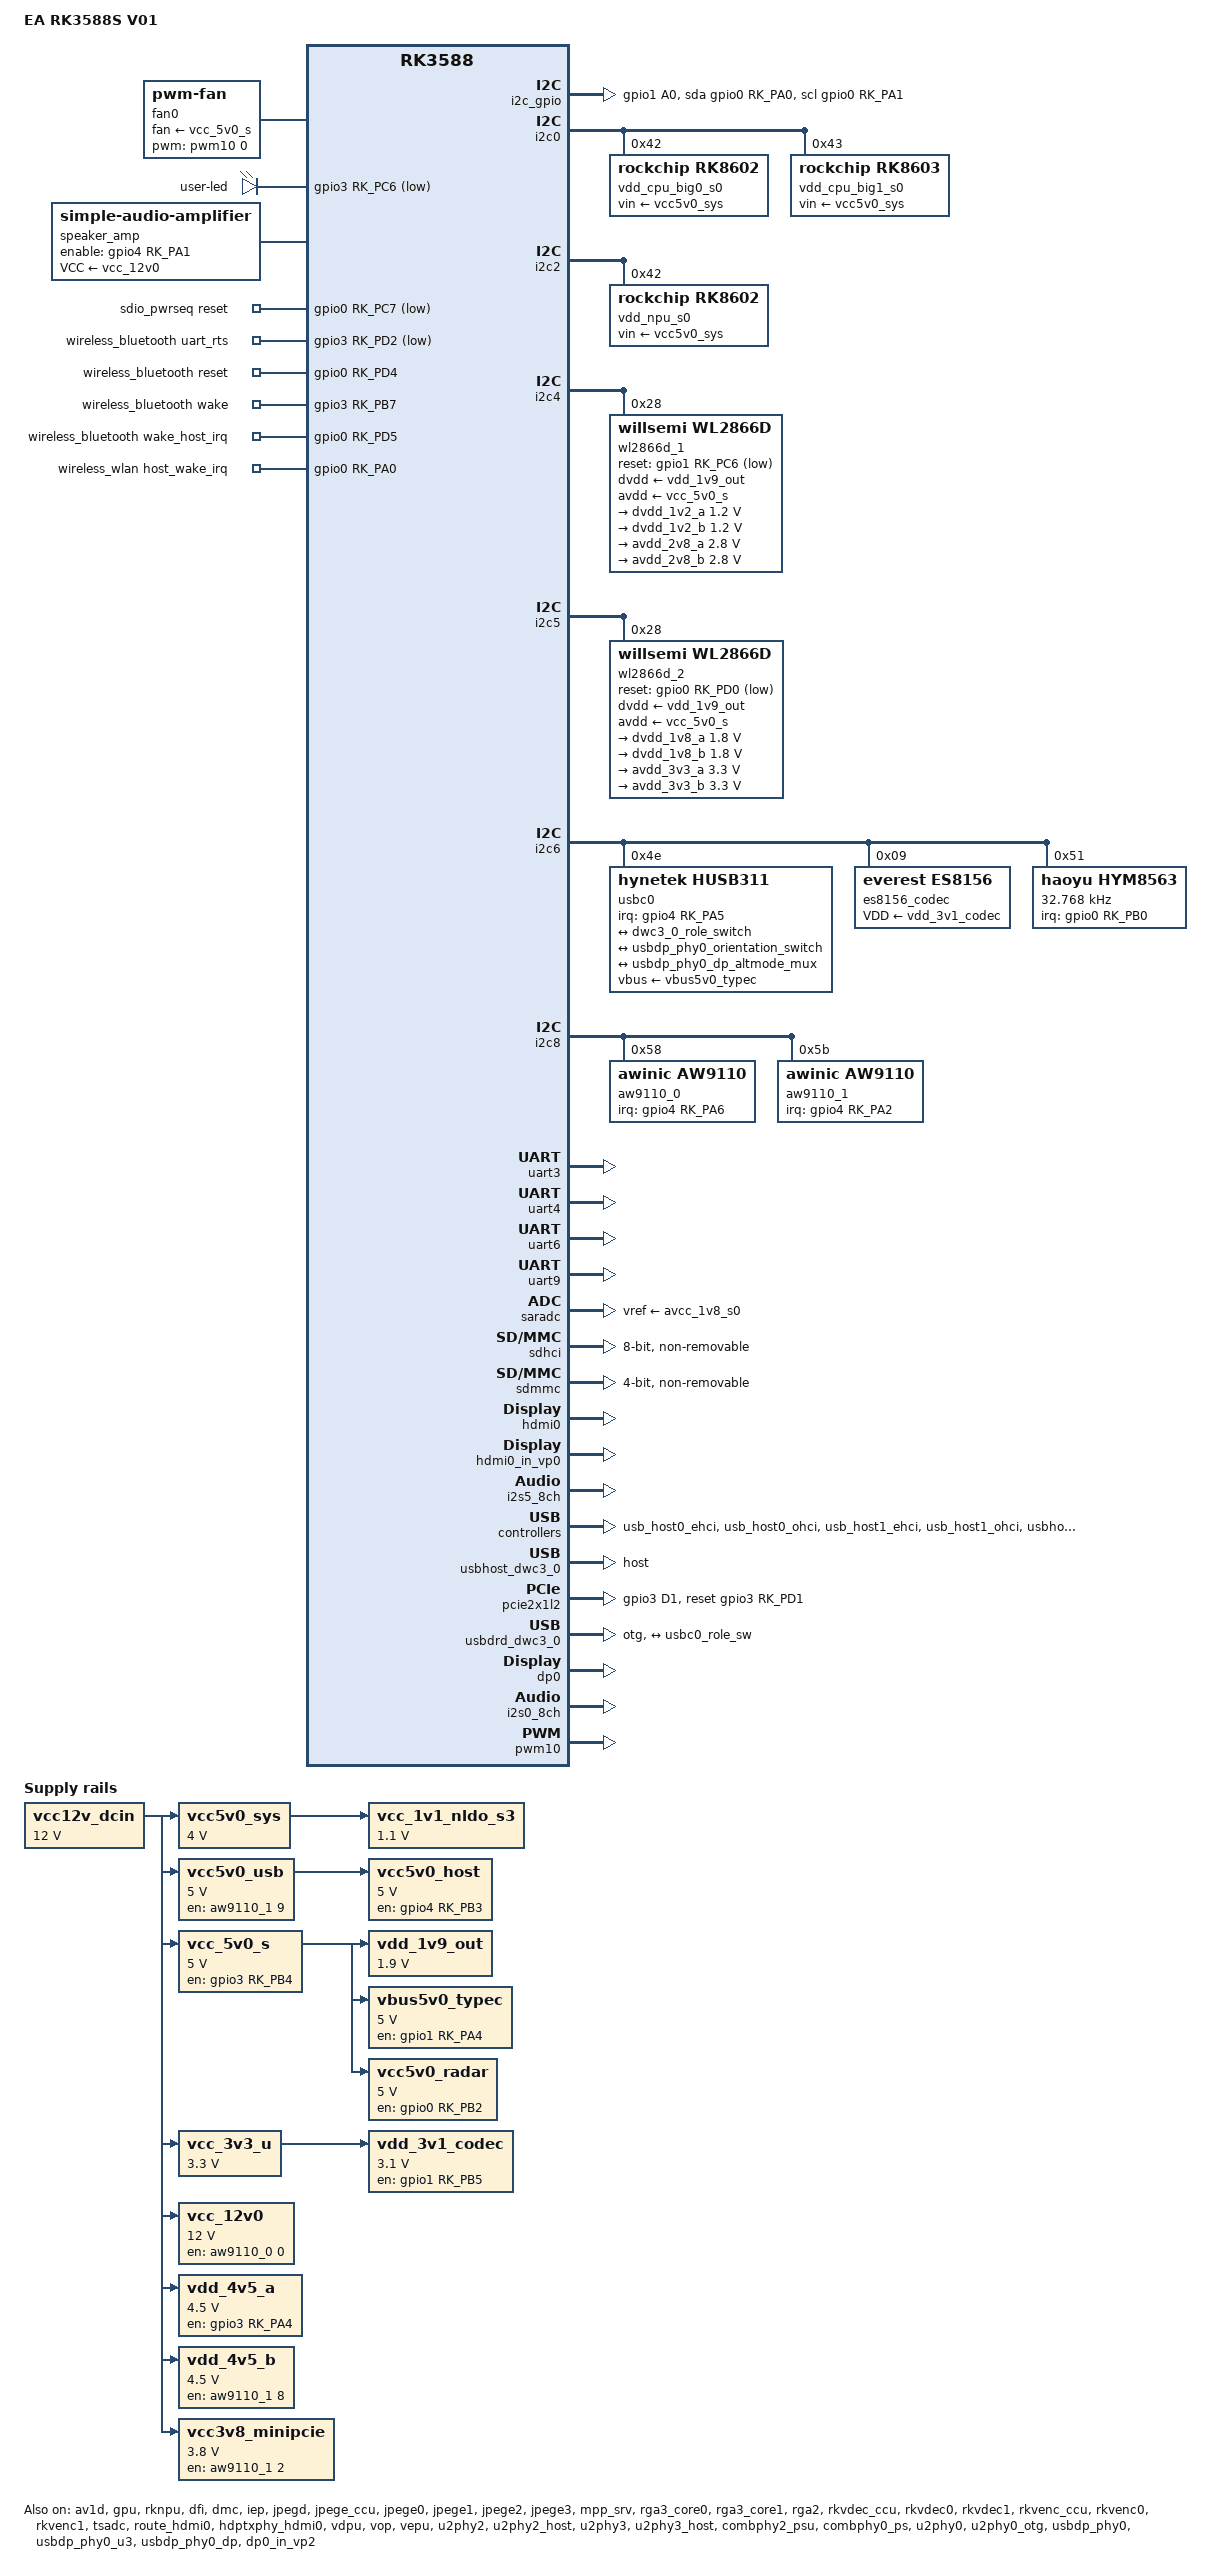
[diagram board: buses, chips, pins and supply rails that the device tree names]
// SPDX-License-Identifier: (GPL-2.0+ OR MIT)
/*
 * Copyright (c) 2022 Rockchip Electronics Co., Ltd.
 * Copyright (c) 2022 Radxa Limited
 *
 */

/dts-v1/;

#include <dt-bindings/gpio/gpio.h>
#include <dt-bindings/leds/common.h>
#include <dt-bindings/pwm/pwm.h>
#include <dt-bindings/pinctrl/rockchip.h>
#include <dt-bindings/input/rk-input.h>
#include <dt-bindings/display/drm_mipi_dsi.h>
#include <dt-bindings/display/rockchip_vop.h>
#include <dt-bindings/sensor-dev.h>
#include <dt-bindings/usb/pd.h>
#include "rk3588s.dtsi"
#include "rk3588-rk806-single.dtsi"
#include "rk3588-linux.dtsi"

/ {
	model = "EA RK3588S V01";
	compatible = "xf,ea_rk3588s_v01", "rockchip,rk3588";

	chosen {
		bootargs = "earlycon=uart8250,mmio32,0xfeb50000 console=ttyFIQ0 coherent_pool=1m irqchip.gicv3_pseudo_nmi=0";
	};

	fan0: pwm-fan {
		compatible = "pwm-fan";
		#cooling-cells = <2>;
		cooling-levels = <0 64 128 192 255>;
		fan-supply = <&vcc_5v0_s>;
		pwms = <&pwm10 0 10000 0>;
	};

	vcc12v_dcin: vcc12v-dcin {
		compatible = "regulator-fixed";
		regulator-name = "vcc12v_dcin";
		regulator-always-on;
		regulator-boot-on;
		regulator-min-microvolt = <0xb71b00>;
		regulator-max-microvolt = <0xb71b00>;
	};

	vcc5v0_sys: vcc5v0-sys {
		compatible = "regulator-fixed";
		regulator-name = "vcc5v0_sys";
		regulator-always-on;
		regulator-boot-on;
		regulator-min-microvolt = <4000000>;
		regulator-max-microvolt = <4000000>;
		vin-supply = <&vcc12v_dcin>;
	};

	vcc5v0_usb: vcc5v0-usb {
		compatible = "regulator-fixed";
		regulator-name = "vcc5v0_usb";
		regulator-always-on;
		regulator-boot-on;
		enable-active-high;
		regulator-min-microvolt = <5000000>;
		regulator-max-microvolt = <5000000>;
		//gpio = <0x198 0x09 0x00>; i2c gpio aw9110-1@5b
		gpio = <&aw9110_1 9 GPIO_ACTIVE_HIGH>;
		vin-supply = <&vcc12v_dcin>;
	};	// ok

	vcc_5v0_s: vcc-5v0-s {
		compatible = "regulator-fixed";
		regulator-name = "vcc_5v0_s";
		regulator-min-microvolt = <5000000>;
		regulator-max-microvolt = <5000000>;
		regulator-boot-on;
		regulator-always-on;
		enable-active-high;
		//gpio = <0xff 0x0c 0x00>;
		gpio = <&gpio3 RK_PB4 GPIO_ACTIVE_HIGH>;
		pinctrl-names = "default";
		pinctrl-0 = <&vcc_5v0_s_pwren>;
		vin-supply = <&vcc12v_dcin>;
	};

	vdd_1v9_out: vdd-1v9-out {
		compatible = "regulator-fixed";
		regulator-name = "vdd_1v9_out";
		regulator-always-on;
		regulator-boot-on;
		regulator-min-microvolt = <0x1cfde0>;
		regulator-max-microvolt = <0x1cfde0>;
		vin-supply = <&vcc_5v0_s>;
	};

	vcc_3v3_u: vcc-3v3-u {
		compatible = "regulator-fixed";
		regulator-name = "vcc_3v3_u";
		regulator-always-on;
		regulator-boot-on;
		regulator-min-microvolt = <0x325aa0>;
		regulator-max-microvolt = <0x325aa0>;
		vin-supply = <&vcc12v_dcin>;
	};

	vcc_12v0: vcc-12v0 {
		compatible = "regulator-fixed";
		regulator-name = "vcc_12v0";
		regulator-min-microvolt = <0xb71b00>;
		regulator-max-microvolt = <0xb71b00>;
		enable-active-high;
		//gpio = <0x78 0x00 0x00>; i2c gpio aw9110-0@58
		gpio = <&aw9110_0 0 GPIO_ACTIVE_HIGH>;
		vin-supply = <&vcc12v_dcin>;
	};

	vdd_4v5_a: vdd-4v5-a {
		compatible = "regulator-fixed";
		regulator-name = "vdd_4v5_a";
		regulator-min-microvolt = <0x44aa20>;
		regulator-max-microvolt = <0x44aa20>;
		enable-active-high;
		//gpio = <0xff 0x04 0x00>;
		gpio = <&gpio3 RK_PA4 GPIO_ACTIVE_HIGH>;
		vin-supply = <&vcc12v_dcin>;
		pinctrl-names = "default";
		pinctrl-0 = <&vcc_4v5_pwen>;
	};

	vdd_4v5_b: vdd-4v5-b {
		compatible = "regulator-fixed";
		regulator-name = "vdd_4v5_b";
		regulator-min-microvolt = <0x44aa20>;
		regulator-max-microvolt = <0x44aa20>;
		enable-active-high;
		//gpio = <0x165 0x08 0x00>; i2c gpio aw9110-1@5b
		gpio = <&aw9110_1 8 GPIO_ACTIVE_HIGH>;
		vin-supply = <&vcc12v_dcin>;
	};

	vbus5v0_typec: vbus5v0-typec {
		compatible = "regulator-fixed";
		enable-active-high;
		//gpio = <0xf3 0x04 0x00>;
		gpios = <&gpio1 RK_PA4 GPIO_ACTIVE_HIGH>;
		pinctrl-names = "default";
		pinctrl-0 = <&typec5v_pwren>;
		regulator-name = "vbus5v0_typec";
		regulator-min-microvolt = <5000000>;
		regulator-max-microvolt = <5000000>;
		vin-supply = <&vcc_5v0_s>;
	};	// ok

	vcc_1v1_nldo_s3: vcc-1v1-nldo-s3 {
		compatible = "regulator-fixed";
		regulator-name = "vcc_1v1_nldo_s3";
		regulator-always-on;
		regulator-boot-on;
		regulator-min-microvolt = <1100000>;
		regulator-max-microvolt = <1100000>;
		vin-supply = <&vcc5v0_sys>;
	};

	vcc5v0_host: vcc5v0-host {
		compatible = "regulator-fixed";
		regulator-name = "vcc5v0_host";
		regulator-min-microvolt = <5000000>;
		regulator-max-microvolt = <5000000>;
		enable-active-high;
		//gpio = <0x146 0x0b 0x00>;
		gpio = <&gpio4 RK_PB3 GPIO_ACTIVE_HIGH>;
		pinctrl-names = "default";
		pinctrl-0 = <&vcc5v0_host_en>;
		vin-supply = <&vcc5v0_usb>;
	};

	vcc3v8_minipcie: vcc3v8-minipcie {
		compatible = "regulator-fixed";
		regulator-name = "vcc3v8_minipcie";
		regulator-always-on;
		regulator-boot-on;
		regulator-min-microvolt = <0x39fbc0>;
		regulator-max-microvolt = <0x39fbc0>;
		enable-active-high;
		//gpio = <0x198 0x02 0x00>;
		gpio = <&aw9110_1 2 GPIO_ACTIVE_HIGH>;
		vin-supply = <&vcc12v_dcin>;
	};

	vdd_3v1_codec: vdd-3v1-codec {
		compatible = "regulator-fixed";
		regulator-name = "vdd_3v1_codec";
		regulator-min-microvolt = <0x2f4d60>;
		regulator-max-microvolt = <0x2f4d60>;
		regulator-always-on;
		regulator-boot-on;
		enable-active-high;
		//gpio = <0xd4 0x0d 0x00>;
		gpios = <&gpio1 RK_PB5 GPIO_ACTIVE_HIGH>;
		vin-supply = <&vcc_3v3_u>;
		pinctrl-names = "default";
		pinctrl-0 = <&vcc_3v1_codec_en>;
	};

	vcc5v0_radar: vcc5v0-radar {
		compatible = "regulator-fixed";
		regulator-name = "vcc5v0_radar";
		regulator-always-on;
		regulator-boot-on;
		regulator-min-microvolt = <0x4c4b40>;
		regulator-max-microvolt = <0x4c4b40>;
		enable-active-high;
		//gpio = <0x141 0x0a 0x00>;
		gpios = <&gpio0 RK_PB2 GPIO_ACTIVE_HIGH>;
		vin-supply = <&vcc_5v0_s>;
		pinctrl-names = "default";
		pinctrl-0 = <0x1a0>;
	};

	gpio-leds {
		compatible = "gpio-leds";
		pinctrl-names = "default";
		user-led {
			function = "status";
			//gpios = <0xff 0x16 0x01>;
			gpios = <&gpio3 RK_PC6 GPIO_ACTIVE_LOW>;
			linux,default-trigger = "heartbeat";
		};
	};

	hdmi0_sound: hdmi0-sound {
		status = "okay";
		compatible = "rockchip,hdmi";
		rockchip,mclk-fs = <128>;
		rockchip,card-name = "rockchip-hdmi0";
		rockchip,cpu = <&i2s5_8ch>;
		rockchip,codec = <&hdmi0>;
		rockchip,jack-det;
	};

	dp0_sound: dp0-sound {
		status = "okay";
		compatible = "rockchip,hdmi";
		rockchip,card-name = "rockchip-dp0";
		rockchip,mclk-fs = <512>;
		rockchip,cpu = <&spdif_tx2>;
		rockchip,codec = <&dp0 1>;
		rockchip,jack-det;
	};

	rk_sound: rk-sound {
		status = "okay";
		compatible = "simple-audio-card";
		simple-audio-card,name = "Internal";
		simple-audio-card,format = "i2s";
		simple-audio-card,mclk-fs = <0x100>;
		simple-audio-card,widgets = "Speaker","Speaker Left","Speaker","Speaker Right";
		simple-audio-card,routing = "Speaker Left","LOUT","Speaker Right","ROUT";

		simple-audio-card,cpu {
			sound-dai = <&i2s0_8ch>;
		};

		simple-audio-card,codec {
		//	sound-dai = <&es8156_codec>;
		};
	};

	speaker_amp: speaker-amp {
		compatible = "simple-audio-amplifier";
		pinctrl-names = "default";
		pinctrl-0 = <&amplifier_pwren>;
		//enable-gpios = <0x146 0x01 0x00>;
		enable-gpios = <&gpio4 RK_PA1 GPIO_ACTIVE_HIGH>;
		VCC-supply = <&vcc_12v0>;
		sound-name-prefix = "Speaker Amp";
	};

	sdio_pwrseq: sdio-pwrseq {
		compatible = "mmc-pwrseq-simple";
		pinctrl-names = "default";
		pinctrl-0 = <&sdmmc_pwren>;
		post-power-on-delay-ms = <0xc8>;
		//reset-gpios = <0x141 0x17 0x01>;
		reset-gpios = <&gpio0 RK_PC7 GPIO_ACTIVE_LOW>;
		status = "okay";
	};

	wireless_bluetooth: wireless-bluetooth {
		compatible = "bluetooth-platdata";
		//uart_rts_gpios = <0xff 0x1a 0x01>;
		uart_rts_gpios = <&gpio3 RK_PD2 GPIO_ACTIVE_LOW>;
		pinctrl-names = "default","rts_gpio";
		pinctrl-0 = <&uart9m2_rtsn &bt_gpio>;
		pinctrl-1 = <&uart9_gpios>;
		//BT,reset_gpio = <0x141 0x1c 0x00>;
		BT,reset_gpio = <&gpio0 RK_PD4 GPIO_ACTIVE_HIGH>;
		//BT,wake_gpio = <0xff 0x0f 0x00>;
		BT,wake_gpio = <&gpio3 RK_PB7 GPIO_ACTIVE_HIGH>;
		//BT,wake_host_irq = <0x141 0x1d 0x00>;
		BT,wake_host_irq  = <&gpio0 RK_PD5 GPIO_ACTIVE_HIGH>;
		status = "okay";
	};

	wireless_wlan: wireless-wlan {
		compatible = "wlan-platdata";
		wifi_chip_type = "rtl8852bs";
		pinctrl-names = "default";
		pinctrl-0 = <&wifi_gpio>;
		//WIFI,host_wake_irq = <0x141 0x00 0x00>;
		WIFI,host_wake_irq = <&gpio0 RK_PA0 GPIO_ACTIVE_HIGH>;
		status = "okay";
	};

	i2c_gpio: i2c-gpio {
		compatible = "i2c-gpio";
		pinctrl-names = "default";
		pinctrl-0 = <&i2c_gpio_pins>;
		//sda-gpios = <0xf3 0x00 0x06>;
		sda-gpios = <&gpio0 RK_PA0 0x06>;
		scl-gpios = <&gpio0 RK_PA1 0x06>;
		i2c-gpio,delay-us = <0x02>;
	};

};

&i2c0 {
	status = "okay";
	pinctrl-names = "default";
	pinctrl-0 = <&i2c0m2_xfer>;

	vdd_cpu_big0_s0: vdd_cpu_big0_mem_s0: rk8602@42 {
		compatible = "rockchip,rk8602";
		reg = <0x42>;
		vin-supply = <&vcc5v0_sys>;
		regulator-compatible = "rk860x-reg";
		regulator-name = "vdd_cpu_big0_s0";
		regulator-min-microvolt = <550000>;
		regulator-max-microvolt = <1050000>;
		regulator-ramp-delay = <2300>;
		rockchip,suspend-voltage-selector = <1>;
		regulator-boot-on;
		regulator-always-on;
		regulator-state-mem {
			regulator-off-in-suspend;
		};
	};

	vdd_cpu_big1_s0: vdd_cpu_big1_mem_s0: rk8603@43 {
		compatible = "rockchip,rk8603";
		reg = <0x43>;
		vin-supply = <&vcc5v0_sys>;
		regulator-compatible = "rk860x-reg";
		regulator-name = "vdd_cpu_big1_s0";
		regulator-min-microvolt = <550000>;
		regulator-max-microvolt = <1050000>;
		regulator-ramp-delay = <2300>;
		rockchip,suspend-voltage-selector = <1>;
		regulator-boot-on;
		regulator-always-on;
		regulator-state-mem {
			regulator-off-in-suspend;
		};
	};
};

&i2c2 {
	status = "okay";
	pinctrl-names = "default";
	pinctrl-0 = <&i2c2m0_xfer>;

	vdd_npu_s0: vdd_npu_mem_s0: rk8602@42 {
		compatible = "rockchip,rk8602";
		reg = <0x42>;
		vin-supply = <&vcc5v0_sys>;
		regulator-compatible = "rk860x-reg";
		regulator-name = "vdd_npu_s0";
		regulator-min-microvolt = <550000>;
		regulator-max-microvolt = <950000>;
		regulator-ramp-delay = <2300>;
		rockchip,suspend-voltage-selector = <1>;
		regulator-boot-on;
		regulator-always-on;
		regulator-state-mem {
			regulator-off-in-suspend;
		};
	};
};

&i2c4 {
	status = "okay";
	pinctrl-names = "default";
	pinctrl-0 = <&i2c4m2_xfer>;
	wl2866d_1: wl2866d-1@28 {
		compatible = "willsemi,wl2866d";
		reg = <0x28>;
		//reset-gpios = <0xf3 0x16 0x01>;
		reset-gpios = <&gpio1 RK_PC6 GPIO_ACTIVE_LOW>;
		dvdd-supply = <&vdd_1v9_out>;
		avdd-supply = <&vcc_5v0_s>;
		status = "okay";

		regulators {

			dvdd_1v2_a: WL_DVDD1 {
				regulator-boot-on;
				regulator-always-on;
				regulator-min-microvolt = <0x124f80>;
				regulator-max-microvolt = <0x124f80>;
				regulator-name = "dvdd_1v2_a";
			};

			dvdd_1v2_b: WL_DVDD2 {
				regulator-boot-on;
				regulator-min-microvolt = <0x124f80>;
				regulator-max-microvolt = <0x124f80>;
				regulator-name = "dvdd_1v2_b";
			};

			avdd_2v8_a: WL_AVDD1 {
				regulator-boot-on;
				regulator-always-on;
				regulator-min-microvolt = <0x2ab980>;
				regulator-max-microvolt = <0x2ab980>;
				regulator-name = "avdd_2v8_a";
			};

			avdd_2v8_b: WL_AVDD2 {
				regulator-boot-on;
				regulator-min-microvolt = <0x2ab980>;
				regulator-max-microvolt = <0x2ab980>;
				regulator-name = "avdd_2v8_b";
			};
		};
	};

};

&i2c5 {
	status = "okay";
	pinctrl-names = "default";
	pinctrl-0 = <&i2c5m3_xfer>;
	wl2866d_2: wl2866d-2@28 {
		compatible = "willsemi,wl2866d";
		reg = <0x28>;
		//reset-gpios = <0x141 0x18 0x01>;
		reset-gpios = <&gpio0 RK_PD0 GPIO_ACTIVE_LOW>;
		dvdd-supply = <&vdd_1v9_out>;
		avdd-supply = <&vcc_5v0_s>;
		status = "okay";

		regulators {

			dvdd_1v8_a: WL_DVDD1 {
				regulator-boot-on;
				regulator-always-on;
				regulator-min-microvolt = <0x1b7740>;
				regulator-max-microvolt = <0x1b7740>;
				regulator-name = "dvdd_1v8_a";
			};

			dvdd_1v8_b: WL_DVDD2 {
				regulator-boot-on;
				regulator-min-microvolt = <0x1b7740>;
				regulator-max-microvolt = <0x1b7740>;
				regulator-name = "dvdd_1v8_b";
			};

			avdd_3v3_a: WL_AVDD1 {
				regulator-boot-on;
				regulator-min-microvolt = <0x325aa0>;
				regulator-max-microvolt = <0x325aa0>;
				regulator-name = "avdd_3v3_a";
			};

			avdd_3v3_b: WL_AVDD2 {
				regulator-boot-on;
				regulator-min-microvolt = <0x325aa0>;
				regulator-max-microvolt = <0x325aa0>;
				regulator-name = "avdd_3v3_b";
			};
		};
	};

};

// #配置外置Type-C控制器芯片husb311
// #需要根据实际的硬件设计，配置"I2C/interrupts/vbus-supply/usb_con"的属性
&i2c6 {
    status = "okay";
	pinctrl-names = "default";
	pinctrl-0 = <&i2c6m3_xfer>;

    usbc0: husb311@4e {
        compatible = "hynetek,husb311";
		reg = <0x4e>;
		//interrupt-parent = <0x146>;
		//interrupts = <0x05 0x08>;
		interrupt-parent = <&gpio4>;
        interrupts = <RK_PA5 IRQ_TYPE_LEVEL_LOW>;
        pinctrl-names = "default";
        pinctrl-0 = <&usbc0_int>;
        vbus-supply = <&vbus5v0_typec>;
        status = "okay";

        ports {
            #address-cells = <1>;
            #size-cells = <0>;

            port@0 {
                reg = <0>;
                usbc0_role_sw: endpoint@0 {
                	remote-endpoint = <&dwc3_0_role_switch>;
                };
            };
        };

        usb_con: connector {
			compatible = "usb-c-connector";
			label = "USB-C";
			data-role = "dual";
			power-role = "dual";
			try-power-role = "sink";
			op-sink-microwatt = <10000000>;
			sink-pdos = <PDO_FIXED(5000, 1000, PDO_FIXED_USB_COMM)>;
            source-pdos = <PDO_FIXED(5000, 3000, PDO_FIXED_USB_COMM)>;

			altmodes {
				#address-cells = <1>;
				#size-cells = <0>;

				altmode@0 {
					reg = <0>;
					svid = <0xff01>;
					vdo = <0xffffffff>;
				};
			};

			ports {
				#address-cells = <1>;
				#size-cells = <0>;

				port@0 {
					reg = <0>;
					usbc0_orien_sw: endpoint {
						remote-endpoint = <&usbdp_phy0_orientation_switch>;
					};
				};

				port@1 {
					reg = <1>;
					dp_altmode_mux: endpoint {
						remote-endpoint = <&usbdp_phy0_dp_altmode_mux>;
					};
				};
			};
		};
    };

	es8156_codec: es8156-codec@9 {
		reg = <0x09>;
		compatible = "everest,es8156";
		VDD-supply = <&vdd_3v1_codec>;
		#sound-dai-cells = <0x00>;
		clocks = <0x02 0x39>;
		clock-names = "mclk";
		pinctrl-names = "default";
		pinctrl-0 = <&i2s0_mclk>;
	};

	hym8563: hym8563@51 {
		compatible = "haoyu,hym8563";
		status = "okay";
		reg = <0x51>;
		#clock-cells = <0>;
		clock-frequency = <0x8000>;
		clock-output-names = "hym8563";
		pinctrl-names = "default";
		pinctrl-0 = <&hym8563_int>;
		//interrupt-parent = <0x141>;
		//interrupts = <0x08 0x08>;
		interrupt-parent = <&gpio0>;
        interrupts = <RK_PB0 IRQ_TYPE_LEVEL_LOW>;
		wakeup-source;
	};
};

&i2c8 {
	status = "okay";
	pinctrl-names = "default";
	pinctrl-0 = <&i2c8m2_xfer>;
	// i2c GPIO Contrl
	aw9110_0: aw9110-0@58 {
		reg = <0x58>;
		compatible = "awinic,aw9110";
		gpio-controller;
		#gpio-cells = <0x02>;
		pinctrl-names = "default";
		pinctrl-0 = <&aw9110_0_int>;
		//interrupt-parent = <0x146>;
		//interrupts = <0x06 0x08>;
		interrupt-parent = <&gpio4>;
        interrupts = <RK_PA6 IRQ_TYPE_LEVEL_LOW>;
		interrupt-controller;
		#interrupt-cells = <0x02>;
	};
	aw9110_1: aw9110-1@5b {
		reg = <0x5b>;
		compatible = "awinic,aw9110";
		gpio-controller;
		#gpio-cells = <0x02>;
		pinctrl-names = "default";
		pinctrl-0 = <&aw9110_1_int>;
		//interrupt-parent = <0x146>;
		//interrupts = <0x02 0x08>;
		interrupt-parent = <&gpio4>;
        interrupts = <RK_PA2 IRQ_TYPE_LEVEL_LOW>;
		interrupt-controller;
		#interrupt-cells = <0x02>;
	};
};

&uart3{
	status = "okay";
	pinctrl-names = "default";
	pinctrl-0 = <&uart3m0_xfer>;		
};

&uart4{
	status = "okay";
	pinctrl-names = "default";
	pinctrl-0 = <&uart4m0_xfer>;		
};

&uart6{
	status = "okay";
	pinctrl-names = "default";
	pinctrl-0 = <&uart6m2_xfer>;		
};
// Bluetooth uart
&uart9{
	status = "okay";
	pinctrl-names = "default";
	pinctrl-0 = <&uart9m2_xfer &uart9m2_ctsn>;		
};

&av1d {
	status = "okay";
};

&av1d_mmu {
	status = "okay";
};

/* CPU */

&cpu_l0 {
	cpu-supply = <&vdd_cpu_lit_s0>;
	mem-supply = <&vdd_cpu_lit_mem_s0>;
};

&cpu_b0 {
	cpu-supply = <&vdd_cpu_big0_s0>;
	mem-supply = <&vdd_cpu_big0_mem_s0>;
};

&cpu_b2 {
	cpu-supply = <&vdd_cpu_big1_s0>;
	mem-supply = <&vdd_cpu_big1_mem_s0>;
};

/* GPU */

&gpu {
	mali-supply = <&vdd_gpu_s0>;
	mem-supply = <&vdd_gpu_mem_s0>;
	status = "okay";
};

/* NPU */

&rknpu {
	rknpu-supply = <&vdd_npu_s0>;
	mem-supply = <&vdd_npu_mem_s0>;
	status = "okay";
};

&dfi {
	status = "okay";
};

&dmc {
	status = "okay";
	center-supply = <&vdd_ddr_s0>;
	mem-supply = <&vdd_log_s0>;
};

&rknpu_mmu {
	status = "okay";
};

&iep {
	status = "okay";
};

&iep_mmu {
	status = "okay";
};

&jpegd {
	status = "okay";
};

&jpegd_mmu {
	status = "okay";
};

&jpege_ccu {
	status = "okay";
};

&jpege0 {
	status = "okay";
};

&jpege0_mmu {
	status = "okay";
};

&jpege1 {
	status = "okay";
};

&jpege1_mmu {
	status = "okay";
};

&jpege2 {
	status = "okay";
};

&jpege2_mmu {
	status = "okay";
};

&jpege3 {
	status = "okay";
};

&jpege3_mmu {
	status = "okay";
};

&mpp_srv {
	status = "okay";
};

&rga3_core0 {
	status = "okay";
};

&rga3_0_mmu {
	status = "okay";
};

&rga3_core1 {
	status = "okay";
};

&rga3_1_mmu {
	status = "okay";
};

&rga2 {
	status = "okay";
};

&rkvdec_ccu {
	status = "okay";
};

&rkvdec0 {
	status = "okay";
};

&rkvdec0_mmu {
	status = "okay";
};

&rkvdec1 {
	status = "okay";
};

&rkvdec1_mmu {
	status = "okay";
};

&rkvenc_ccu {
	status = "okay";
};

&rkvenc0 {
	status = "okay";
};

&rkvenc0_mmu {
	status = "okay";
};

&rkvenc1 {
	status = "okay";
};

&rkvenc1_mmu {
	status = "okay";
};

&saradc {
	status = "okay";
	vref-supply = <&avcc_1v8_s0>;
};

/* Storage */
/* eMMC */

&sdhci {
	max-frequency = <200000000>;
	bus-width = <8>;
	no-sdio;
	no-sd;
	non-removable;
	mmc-hs400-1_8v;
	card-detect-delay = <0x4b0>;
	status = "okay";
};

/* SDIO */
&sdmmc {
	max-frequency = <200000000>;
	no-sd;
	no-mmc;
	bus-width = <0x04>;
	disable-wp;
	cap-sd-highspeed;
	cap-sdio-irq;
	keep-power-in-suspend;
	mmc-pwrseq = <&sdio_pwrseq>;
	non-removable;
	sd-uhs-sdr104;
	pinctrl-names = "default";
	pinctrl-0 = <&sdmmc_bus4 &sdmmc_clk &sdmmc_cmd>;
	status = "okay";
};

/* ADC */

&tsadc {
	status = "okay";
};

/* HDMI */

&hdmi0 {
	status = "okay";
	pinctrl-names = "default";
	//enable-gpios = <0xf3 0x07 0x00>;
	enable-gpios = <&gpio1 RK_PA7 GPIO_ACTIVE_HIGH>;
	pinctrl-0 = <&hdmim0_tx0_cec &hdmim0_tx0_hpd &hdmim0_tx0_scl &hdmim0_tx0_sda>;
};

&hdmi0_in_vp0 {
	status = "okay";
};

&route_hdmi0 {
	status = "okay";
};

&hdptxphy_hdmi0 {
	status = "okay";
};

&i2s5_8ch {
	status = "okay";
};

&vdpu {
	status = "okay";
};

&vdpu_mmu {
	status = "okay";
};

/* Video Ports */

&vop {
	status = "okay";
};

&vop_mmu {
	status = "okay";
};

&vepu {
	status = "okay";
};

/* vp0 & vp1 splice for 8K output */
&vp0 {
    cursor-win-id=<ROCKCHIP_VOP2_ESMART0>;
    rockchip,plane-mask = <(1 << ROCKCHIP_VOP2_CLUSTER0 | 1 << ROCKCHIP_VOP2_ESMART0)>;
    rockchip,primary-plane = <ROCKCHIP_VOP2_CLUSTER0>;
};

&vp1 {
    cursor-win-id=<ROCKCHIP_VOP2_ESMART1>;
    rockchip,plane-mask = <(1 << ROCKCHIP_VOP2_CLUSTER1 | 1 << ROCKCHIP_VOP2_ESMART1)>;
    rockchip,primary-plane = <ROCKCHIP_VOP2_CLUSTER1>;
};

&vp2 {
    cursor-win-id=<ROCKCHIP_VOP2_ESMART2>;
    rockchip,plane-mask = <(1 << ROCKCHIP_VOP2_CLUSTER2 | 1 << ROCKCHIP_VOP2_ESMART2)>;
    rockchip,primary-plane = <ROCKCHIP_VOP2_CLUSTER2>;
};

&vp3 {
    cursor-win-id=<ROCKCHIP_VOP2_ESMART3>;
    rockchip,plane-mask = <(1 << ROCKCHIP_VOP2_CLUSTER3 | 1 << ROCKCHIP_VOP2_ESMART3)>;
    rockchip,primary-plane = <ROCKCHIP_VOP2_CLUSTER3>;
};

&display_subsystem {
	clocks = <&hdptxphy_hdmi0>;
	clock-names = "hdmi0_phy_pll";
};

/* USB */

&usb_host0_ehci {
	status = "okay";
};

&usb_host0_ohci {
	status = "okay";
};

&u2phy2 {
	status = "okay";
};

&u2phy2_host {
	status = "okay";
	phy-supply = <&vcc5v0_host>;
};

&usb_host1_ehci {
	status = "okay";
};

&usb_host1_ohci {
	status = "okay";
};

&u2phy3 {
	status = "okay";
};

&u2phy3_host {
	phy-supply = <&vcc5v0_host>;
	status = "okay";
};

&usbhost3_0 {
	status = "okay";
};

&usbhost_dwc3_0 {
	status = "okay";
	dr_mode = "host";
};

&combphy2_psu {
	status = "okay";
};

/* PCIe */
&combphy0_ps {
	status = "okay";
};

&pcie2x1l1 {
	status = "disabled";
};

&pcie2x1l2 {
	status = "okay";
    //reset-gpios = <0xff 0x19 0x00>;
	reset-gpios = <&gpio3 RK_PD1 GPIO_ACTIVE_HIGH>;
	pinctrl-names = "default";
	pinctrl-0 = <&pcie_reset>;
};

// Type-C0 USB 3.1/DP 全功能 DTS 配置 
// #USB2.0 PHY配置属性"rockchip,typec-vbus-det"，表示支持Type-C VBUS_DET常拉高的硬件设计
&usbdrd3_0{
	status = "okay";
};

// #USB3.1 OTG0 Controller
&usbdrd_dwc3_0 {
	status = "okay";
    dr_mode = "otg";
	usb-role-switch;
	//extcon = <&u2phy0>;
	port {
        #address-cells = <1>;
        #size-cells = <0>;
        dwc3_0_role_switch: endpoint@0 {
        	reg = <0>;
        	remote-endpoint = <&usbc0_role_sw>;
        };
    };
};

&u2phy0 {
    status = "okay";
};

&u2phy0_otg {
	status = "okay";
    rockchip,typec-vbus-det;
	//vbus-supply = <&vbus5v0_typec>;
};
// #USB3.1/DP PHY0，需要根据硬件设计，配置属性"sbu1-dc-gpios"和"sbu2-dc-gpios"
&usbdp_phy0 {
	status = "okay";
    orientation-switch;
    svid = <0xff01>;
	// sbu1-dc-gpios = <0x146 0x0d 0x00>;
    sbu1-dc-gpios = <&gpio4 RK_PB5 GPIO_ACTIVE_HIGH>;
	// sbu2-dc-gpios = <0x146 0x0e 0x00>;
    sbu2-dc-gpios = <&gpio4 RK_PB6 GPIO_ACTIVE_HIGH>;

    port {
            #address-cells = <1>;
            #size-cells = <0>;
		    usbdp_phy0_orientation_switch: endpoint@0 {
                    reg = <0>;
                    remote-endpoint = <&usbc0_orien_sw>;
            };

            usbdp_phy0_dp_altmode_mux: endpoint@1 {
                    reg = <1>;
                    remote-endpoint = <&dp_altmode_mux>;
             };
    };

};

&usbdp_phy0_u3 {
	status = "okay";
};

&usbdp_phy0_dp {
	status = "okay";
};

&dp0 {
	status = "okay";
};

&dp0_in_vp0 {
	status = "disabled";
};

&dp0_in_vp1 {
	status = "disabled";
};

&dp0_in_vp2 {
	status = "okay";
};

&route_dp0 {
	status = "okay";
};

&i2s0_8ch {
	status = "okay";
	rockchip,playback-channels = <2>;
	rockchip,capture-channels = <2>;
	#sound-dai-cells = <0>;
	pinctrl-names = "default";
	pinctrl-0 = <&i2s0_lrck
			 &i2s0_sclk
			 &i2s0_sdi0
			 &i2s0_sdo0>;
};

&pwm10 {
	status = "okay";
	pinctrl-names = "active";
	pinctrl-0 = <&pwm10m0_pins>;
};

&threshold {
	temperature = <60000>;
};

&soc_thermal {
	sustainable-power = <5000>; /* milliwatts */
	cooling-maps {
		map3 {
			trip = <&target>;
			cooling-device =
				<&fan0 THERMAL_NO_LIMIT THERMAL_NO_LIMIT>;
			contribution = <8192>;
		};
		map4 {
			trip = <&threshold>;
			cooling-device =
				<&fan0 THERMAL_NO_LIMIT THERMAL_NO_LIMIT>;
			contribution = <8192>;
		};
	};
};

&rockchip_suspend {
	compatible = "rockchip,pm-rk3588";
	status = "okay";
	rockchip,sleep-debug-en = <1>;
	rockchip,sleep-mode-config = <
		(0
		| RKPM_SLP_ARMOFF_DDRPD
		)
	>;
	rockchip,wakeup-config = <
		(0
		| RKPM_GPIO_WKUP_EN
		| RKPM_USB_WKUP_EN
		)
	>;
};

&avdd_0v75_s0 {
	regulator-state-mem {
		regulator-on-in-suspend;
		regulator-suspend-microvolt = <837500>;
	};
};

&avcc_1v8_s0 {
	regulator-state-mem {
		regulator-on-in-suspend;
		regulator-suspend-microvolt = <1800000>;
	};
};

&vcc_1v8_s0 {
	regulator-state-mem {
		regulator-on-in-suspend;
		regulator-suspend-microvolt = <1800000>;
	};
};

&vcc_3v3_s0 {
	regulator-state-mem {
		regulator-on-in-suspend;
		regulator-suspend-microvolt = <3300000>;
	};
};

&vdd_log_s0 {
	regulator-state-mem {
		regulator-on-in-suspend;
		regulator-suspend-microvolt = <750000>;
	};
};

&vdd_ddr_pll_s0 {
	regulator-state-mem {
		regulator-on-in-suspend;
		regulator-suspend-microvolt = <850000>;
	};
};

&pinctrl {

	gpio-func {

		tsadc-gpio-func {
			//rockchip,pins = <0x00 0x01 0x00 0x18b>;
			rockchip,pins = <0 RK_PA1 RK_FUNC_GPIO &pcfg_pull_none>;
		};

		tof1-reset-pin {
				//rockchip,pins = <0x01 0x14 0x00 0x18b>;
				rockchip,pins = <1 RK_PC4 RK_FUNC_GPIO &pcfg_pull_none>;
		};

		tof2-reset-pin {
			//rockchip,pins = <0x01 0x1c 0x00 0x18b>;
			rockchip,pins = <1 RK_PD4 RK_FUNC_GPIO &pcfg_pull_none>;
		};
	};

	led {
		led_status: led-status {
			//rockchip,pins = <0x03 0x16 0x00 0x18b>;
			rockchip,pins = <3 RK_PC6 RK_FUNC_GPIO &pcfg_pull_none>;
		};
	};

	usb {
		vcc5v0_host_en: vcc5v0-host-en {
			//rockchip,pins = <0x04 0x0b 0x00 0x15c>;
			rockchip,pins = <4 RK_PB3 RK_FUNC_GPIO &pcfg_pull_none>;
		};
	};

	vcc5vpwr {
		vcc_5v0_s_pwren: vcc-5v0-s-pwren {
			//rockchip,pins = <0x03 0x0c 0x00 0x15c>;
			rockchip,pins = <3 RK_PB4 RK_FUNC_GPIO &pcfg_pull_none>;
		};
	};

	vcc4v5pwr {
		vcc_4v5_pwen: vcc-4v5-pwren {
			//rockchip,pins = <0x03 0x04 0x00 0x18b>;
			rockchip,pins = <3 RK_PA4 RK_FUNC_GPIO &pcfg_pull_none>;
		};
	};

	codec {
		vcc_3v1_codec_en: vcc-3v1-codec-en {
			//rockchip,pins = <0x01 0x0d 0x00 0x15c>;
			rockchip,pins = <1 RK_PB5 RK_FUNC_GPIO &pcfg_pull_none>;
		};
	};

	vcc5v0_radar {

		vcc5v0_radar_en: vcc5v0-radar-en {
			//rockchip,pins = <0x00 0x0a 0x00 0x18b>;
			rockchip,pins = <0 RK_PB2 RK_FUNC_GPIO &pcfg_pull_none>;
		};
	};

	amplifier {

		amplifier_pwren: amplifier-pwren {
			//rockchip,pins = <0x04 0x01 0x00 0x18b>;
			rockchip,pins = <4 RK_PA1 RK_FUNC_GPIO &pcfg_pull_none>;
		};
	};

	wireless-bluetooth {
		uart9_gpios: uart9-gpios {
			//rockchip,pins = <0x03 0x1a 0x00 0x18b>;
			rockchip,pins = <3 RK_PD2 RK_FUNC_GPIO &pcfg_pull_none>;
		};

		bt_gpio: bt-gpio {
			//rockchip,pins = <0x00 0x1c 0x00 0x18b 0x03 0x0f 0x00 0x190 0x00 0x1d 0x00 0x193>;
			rockchip,pins = <0 RK_PD4 RK_FUNC_GPIO &pcfg_pull_none 3 RK_PB7 RK_FUNC_GPIO &pcfg_pull_up 0 RK_PD5 RK_FUNC_GPIO &pcfg_pull_down>;
		};
	};

	wireless-wlan {
		wifi_gpio: wifi-gpio {
			//rockchip,pins = <0x00 0x00 0x00 0x193>;
			rockchip,pins = <0 RK_PA0 RK_FUNC_GPIO &pcfg_pull_down>;
		};
	};

	usb-typec {
		usbc0_int: usbc0-int {
				//rockchip,pins = <0x04 0x05 0x00 0x190>;
				rockchip,pins = <4 RK_PA5 RK_FUNC_GPIO &pcfg_pull_up>;
			};

		typec5v_pwren: typec5v-pwren {
			//rockchip,pins = <0x01 0x04 0x00 0x18b>;
			rockchip,pins = <1 RK_PA4 RK_FUNC_GPIO &pcfg_pull_none>;
		};
	};

	pcie2x1l2 {

		pcie_reset: pcie-reset {
			//rockchip,pins = <0x03 0x19 0x00 0x18b>;
			rockchip,pins = <3 RK_PD1 RK_FUNC_GPIO &pcfg_pull_none>;
		};
	};

	aw9110_0 {

		aw9110_0_int: aw9110-0-int {
			//rockchip,pins = <0x04 0x06 0x00 0x190>;
			rockchip,pins = <4 RK_PA6 RK_FUNC_GPIO &pcfg_pull_up>;
		};
	};

	aw9110_1 {

		aw9110_1_int: w9110-1-int {
			//rockchip,pins = <0x04 0x02 0x00 0x190>;
			rockchip,pins = <4 RK_PA2 RK_FUNC_GPIO &pcfg_pull_up>;
		};
	};

	i2c_gpio {

		i2c_gpio_pins: i2c-gpio-pins {
			//rockchip,pins = <0x01 0x00 0x00 0x190 0x01 0x01 0x00 0x190>;
			rockchip,pins = <1 RK_PA0 RK_FUNC_GPIO &pcfg_pull_up 1 RK_PA1 RK_FUNC_GPIO &pcfg_pull_up>;
		};
	};

	hym8563 {

		hym8563_int: hym8563-int {
			//rockchip,pins = <0x00 0x08 0x00 0x190>;
			rockchip,pins = <0 RK_PB0 RK_FUNC_GPIO &pcfg_pull_up>;
		};
	};
	
	sdmmc{
		sdmmc_pwren: sdmmc-pwren {
			//rockchip,pins = <0x00 0x17 0x00 0x190>;
			rockchip,pins = <0 RK_PC7 RK_FUNC_GPIO &pcfg_pull_up>;
		};
	};
};

&gpio0 {
	gpio-line-names =
		/* GPIO0_A0-A3 */
		"", "", "", "",
		/* GPIO0_A4-A7 */
		"", "", "", "",

		/* GPIO0_B0-B3 */
		"", "", "", "",
		/* GPIO0_B4-B7 */
		"", "PIN_8", "PIN_10", "",

		/* GPIO0_C0-C3 */
		"", "", "", "",
		/* GPIO0_C4-C7 */
		"", "", "", "PIN_27",

		/* GPIO0_D0-D3 */
		"PIN_28", "", "", "",
		/* GPIO0_D4-D7 */
		"", "", "", "";
};

&gpio1 {
	gpio-line-names =
		/* GPIO1_A0-A3 */
		"PIN_21", "PIN_19", "PIN_23", "PIN_24",
		/* GPIO1_A4-A7 */
		"PIN_26", "PIN_16", "", "",

		/* GPIO1_B0-B3 */
		"PIN_18", "PIN_31", "PIN_29", "PIN_7",
		/* GPIO1_B4-B7 */
		"PIN_33", "PIN_22", "", "",

		/* GPIO1_C0-C3 */
		"", "", "", "",
		/* GPIO1_C4-C7 */
		"", "", "", "",

		/* GPIO1_D0-D3 */
		"", "", "", "",
		/* GPIO1_D4-D7 */
		"", "", "PIN_5", "PIN_3";
};

&gpio2 {
	gpio-line-names =
		/* GPIO2_A0-A3 */
		"", "", "", "",
		/* GPIO2_A4-A7 */
		"", "", "", "",

		/* GPIO2_B0-B3 */
		"", "", "", "",
		/* GPIO2_B4-B7 */
		"", "", "", "",

		/* GPIO2_C0-C3 */
		"", "", "", "",
		/* GPIO2_C4-C7 */
		"", "", "", "",

		/* GPIO2_D0-D3 */
		"", "", "", "",
		/* GPIO2_D4-D7 */
		"", "", "", "";
};

&gpio3 {
	gpio-line-names =
		/* GPIO3_A0-A3 */
		"", "", "", "",
		/* GPIO3_A4-A7 */
		"", "", "", "",

		/* GPIO3_B0-B3 */
		"", "", "", "",
		/* GPIO3_B4-B7 */
		"", "", "", "",

		/* GPIO3_C0-C3 */
		"", "", "", "",
		/* GPIO3_C4-C7 */
		"", "", "", "",

		/* GPIO3_D0-D3 */
		"", "", "", "",
		/* GPIO3_D4-D7 */
		"", "", "", "";
};

&gpio4 {
	gpio-line-names =
		/* GPIO4_A0-A3 */
		"PIN_35", "PIN_12", "PIN_36", "",
		/* GPIO4_A4-A7 */
		"", "PIN_38", "", "",

		/* GPIO4_B0-B3 */
		"PIN_32", "PIN_40", "PIN_13", "PIN_11",
		/* GPIO4_B4-B7 */
		"PIN_15", "", "", "",

		/* GPIO4_C0-C3 */
		"", "", "", "",
		/* GPIO4_C4-C7 */
		"", "", "", "",

		/* GPIO4_D0-D3 */
		"", "", "", "",
		/* GPIO4_D4-D7 */
		"", "", "", "";
};
